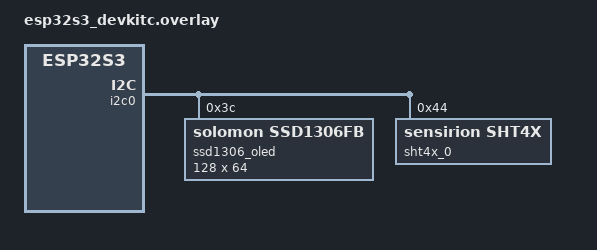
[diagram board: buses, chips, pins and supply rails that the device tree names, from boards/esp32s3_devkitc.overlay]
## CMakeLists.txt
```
cmake_minimum_required(VERSION 3.20.0)

find_package(Zephyr REQUIRED HINTS $ENV{ZEPHYR_BASE})
project(sht40_i2c LANGUAGES C)

target_sources(app PRIVATE src/main.c)
```

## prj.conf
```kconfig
# Console + logging
CONFIG_ESPTOOLPY_FLASHSIZE_16MB=y
CONFIG_CONSOLE=y
CONFIG_UART_CONSOLE=y
CONFIG_LOG=y
CONFIG_LOG_DEFAULT_LEVEL=3

# Use minimal C library to avoid picolibc/newlib complications
CONFIG_MINIMAL_LIBC=y
CONFIG_PICOLIBC=n
CONFIG_NEWLIB_LIBC=n
CONFIG_CBPRINTF_FP_SUPPORT=y

# Display stack for SSD1306
CONFIG_DISPLAY=y
CONFIG_DISPLAY_LOG_LEVEL_INF=y
CONFIG_I2C=y
CONFIG_SSD1306=y
CONFIG_CHARACTER_FRAMEBUFFER=y
CONFIG_CFB_LOG_LEVEL_INF=y

# Sensors
CONFIG_SENSOR=y
CONFIG_SHT4X=y

# Stack room for display + sensor operations
CONFIG_MAIN_STACK_SIZE=4096
CONFIG_HEAP_MEM_POOL_SIZE=8192
```

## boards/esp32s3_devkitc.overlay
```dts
/*
 * Route the Zephyr display chosen node to the SSD1306 on I2C0.
 * This SSD1306 assumes the common 0x3C address for 128x64 panels.
 * I2C0 pins on ESP32-S3 DevKitC: SDA=GPIO1, SCL=GPIO2 (default pinctrl).
 */
/ {
    chosen {
        zephyr,display = &ssd1306_oled;
    };
};

&i2c0 {
    status = "okay";

    ssd1306_oled: ssd1306@3c {
        compatible = "solomon,ssd1306fb";
        reg = <0x3c>;
        width = <128>;
        height = <64>;
        segment-offset = <0>;
        page-offset = <0>;
        display-offset = <0>;
        multiplex-ratio = <63>;
        segment-remap;
        com-invdir;
        prechargep = <0x22>;
    };

    /* Sensirion SHT4x at default address 0x44 on the same I2C bus. */
    sht4x_0: sht4x@44 {
        compatible = "sensirion,sht4x";
        reg = <0x44>;
        repeatability = <2>; /* 0=low,1=med,2=high repeatability */
    };
};
```

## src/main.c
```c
#include <zephyr/kernel.h>
#include <zephyr/device.h>
#include <zephyr/drivers/display.h>
#include <zephyr/display/cfb.h>
#include <zephyr/drivers/sensor.h>
#include <zephyr/logging/log.h>
#include <stdio.h>

LOG_MODULE_REGISTER(sht40_oled, LOG_LEVEL_INF);

/* Fetch devices from DeviceTree: display via chosen, sensor via node label. */
static const struct device *const display = DEVICE_DT_GET(DT_CHOSEN(zephyr_display));
static const struct device *const sht40 = DEVICE_DT_GET(DT_NODELABEL(sht4x_0));
static bool cfb_ready;

static int draw_reading(float temp_c, float rh)
{
    if (!cfb_ready)
    {
        return -EAGAIN;
    }

    char line1[32];
    char line2[32];
    snprintk(line1, sizeof(line1), "Temp: %.1f C", temp_c);
    snprintk(line2, sizeof(line2), "RH:   %.1f %%", rh);

    cfb_print(display, "SHT40 + OLED", 2, 0);
    cfb_print(display, line1, 2, 16);
    cfb_print(display, line2, 2, 32);

    /* Finalize the buffer and push to the panel. */
    return cfb_framebuffer_finalize(display);
}

static int read_sht40(float *temp_c, float *rh)
{
    struct sensor_value val;

    if (sensor_sample_fetch(sht40) < 0)
    {
        LOG_ERR("SHT40 sample fetch failed");
        return -EIO;
    }

    if (sensor_channel_get(sht40, SENSOR_CHAN_AMBIENT_TEMP, &val) < 0)
    {
        LOG_ERR("Temp read failed");
        return -EIO;
    }
    *temp_c = sensor_value_to_double(&val);

    if (sensor_channel_get(sht40, SENSOR_CHAN_HUMIDITY, &val) < 0)
    {
        LOG_ERR("Humidity read failed");
        return -EIO;
    }
    *rh = sensor_value_to_double(&val);

    return 0;
}

int main(void)
{
    if (!device_is_ready(display))
    {
        LOG_ERR("Display device not ready");
        return 0;
    }
    if (!device_is_ready(sht40))
    {
        LOG_ERR("SHT40 device not ready");
        return 0;
    }

    /* Ensure the panel is unblanked and set to a compatible format. */
    if (display_set_pixel_format(display, PIXEL_FORMAT_MONO01) < 0)
    {
        LOG_ERR("Failed to set pixel format");
        return 0;
    }
    if (display_blanking_off(display) < 0)
    {
        LOG_ERR("Failed to unblank display");
        return 0;
    }

    int ret = cfb_framebuffer_init(display);
    if (ret < 0)
    {
        LOG_ERR("CFB init failed (%d)", ret);
        return 0;
    }
    cfb_framebuffer_set_font(display, 0);
    cfb_framebuffer_clear(display, true);
    cfb_ready = true;

    LOG_INF("SHT40 + OLED demo: sampling every 1s.");

    while (1)
    {
        float temp_c = 0.0f;
        float rh = 0.0f;

        if (read_sht40(&temp_c, &rh) == 0)
        {
            LOG_INF("Temp: %.2f C, RH: %.2f %%", temp_c, rh);
            draw_reading(temp_c, rh);
        }

        k_sleep(K_SECONDS(1));
    }

    return 0;
}
```
